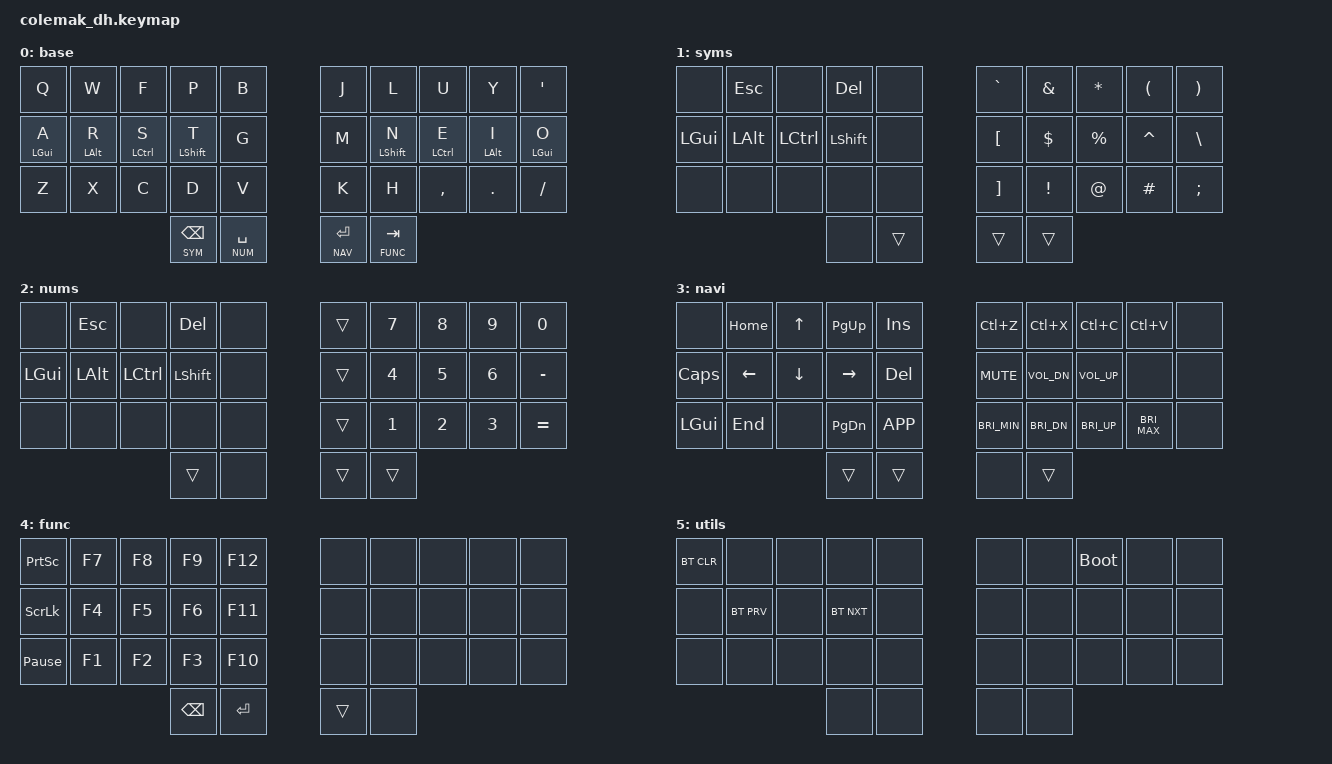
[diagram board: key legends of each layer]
#include <behaviors.dtsi>
#include <dt-bindings/zmk/keys.h>
#include <dt-bindings/zmk/bt.h>
//#include <dt-bindings/zmk/mouse.h> // This is included in mouse.dtsi

// Initially derived from https://github.com/guruc13/zmk_sweep_colemak_dh
// Which is derived from https://github.com/manna-harbour/miryoku

#define BASE 0
#define SYM  1
#define NUM  2
#define NAV  3
#define MAUS 4
#define FUNC 5
#define UTIL 6

#include "mouse.dtsi" // mouse.h is included here

// adjust mod-tap
&mt {
    flavor = "tap-preferred";
    tapping_term_ms = <300>;
};

/ {

//  combos {
//    compatible = "zmk,combos";
//    combo_esc {
//      timeout-ms = <50>;
//      key-positions = <1 2>;
//      bindings = <&kp ESC>;
//     };
//    combo_bspc {
//      timeout-ms = <50>;
//      key-positions = <7 8>;
//      bindings = <&kp BSPC>;
//    };
//  };

  conditional_layers {
    compatible = "zmk,conditional-layers";
    cond_layer_util {
        if-layers = <NAV FUNC>;
        then-layer = <UTIL>;
    };
    cond_layer_maus {
        if-layers = <SYM NUM>;
        then-layer = <MAUS>;
    };
  };


  keymap {
    compatible = "zmk,keymap";

// 0 BASE LAYER
// ┌──────┬──────┬──────┬──────┬──────┐     ┌──────┬──────┬───────┬────────┬───────┐
// │      │      │      │      │      │     │      │      │       │        │  DQT  │
// │   Q  │   W  │   F  │   P  │   B  │     │  J   │   L  │   U   │    Y   │  SQT  │
// ├──────┼──────┼──────┼──────┼──────┤     ├──────┼──────┼───────┼────────┼───────┤
// │ LGUI │ LALT │ LCTL │ LSHT │      │     │      │ LSHT │ LCTL  │  LALT  │ K_APP │
// │   A  │   R  │   S  │   T  │   G  │     │  M   │   N  │   E   │    I   │   O   │
// ├──────┼──────┼──────┼──────┼──────┤     ├──────┼──────┼───────┼────────┼───────┤
// │      │      │      │      │      │     │      │      │   LT  │   GT   │ QMARK │
// │   Z  │   X  │   C  │   D  │   V  │     │  K   │   H  │ COMMA │ PERIOD │ SLASH │
// └──────┴──────┴─┬────┴──────┴──────┤     ├──────┴──────┴─────┬─┴────────┴───────┘
//                 │ MAUS(4)[SYM,NUM] │     │ UTIL(6)[NAV,FUNC] │
//                 │ SYM(1)   NUM(2)  │     │ NAV(3)   FUNC(5)  │
//                 │  BSPC  │ SPACE   │     │ ENTER  │   TAB    │
//                 └────────┴─────────┘     └────────┴──────────┘
//

    base_layer { // layer 0
      label = "base";
      bindings = <
      &kp Q      &kp W      &kp F       &kp P       &kp B        &kp J &kp L       &kp U       &kp Y      &kp SQT
      &mt LGUI A &mt LALT R &mt LCTRL S &mt LSHFT T &kp G        &kp M &mt LSHFT N &mt LCTRL E &mt LALT I &mt LGUI O
      &kp Z      &kp X      &kp C       &kp D       &kp V        &kp K &kp H       &kp COMMA   &kp PERIOD &kp SLASH
                              &lt SYM BSPC  &lt NUM SPACE        &lt NAV ENTER  &lt FUNC TAB
        >;
    };

// 1 SYMS LAYER
// ┌──────┬──────┬──────┬──────┬──────┐    ┌───────┬───────┬───────┬───────┬───────┐
// │      │ ESC  │      │ DEL  │      │    │ TILDE │       │       │       │       │
// │      │      │      │      │      │    │ GRAVE │ AMPS  │ ASTRK │ LPAR  │ RPAR  │
// ├──────┼──────┼──────┼──────┼──────┤    ├───────┼───────┼───────┼───────┼───────┤
// │ LGUI │ LALT │ LCTL │ LSHT │      │    │ LBRC  │       │       │       │ PIPE  │
// │      │      │      │      │      │    │ LBKT  │ DLLR  │ PRCNT │ CARET │ BSLH  │
// ├──────┼──────┼──────┼──────┼──────┤    ├───────┼───────┼───────┼───────┼───────┤
// │      │      │      │      │      │    │ RBRC  │       │       │       │ COLON │
// │      │      │      │      │      │    │ RBKT  │ EXCL  │  AT   │ HASH  │ SEMI  │
// └──────┴──────┴─┬────┴──────┴──────┤    ├───────┼───────┼───────┴───────┴───────┘
//                 │ MAUS(4)[SYM,NUM] │    │               │
//                 │   ***     (NUM)  │    │       │       │
//                 │   ***  │  TRANS  │    │ TRANS │ TRANS │
//                 └────────┴─────────┘    └───────┴───────┘
//

    sym_layer { //layer 1
      label = "syms";
      bindings = <
      &none    &kp ESC  &none     &kp DEL   &none      &kp GRAVE &kp AMPS &kp ASTRK &kp LPAR  &kp RPAR
      &kp LGUI &kp LALT &kp LCTRL &kp LSHFT &none      &kp LBKT  &kp DLLR &kp PRCNT &kp CARET &kp BSLH
      &none    &none    &none     &none     &none      &kp RBKT  &kp EXCL &kp AT    &kp HASH  &kp SEMI
                                  &none     &trans     &trans    &trans
      >;
    };


// 2 NUMS LAYER
// ┌──────┬──────┬──────┬──────┬──────┐     ┌───────┬───────┬───────┬───────┬───────┐
// │      │ ESC  │      │ DEL  │      │     │       │ AMPS  │ ASTRK │ LPAR  │ RPAR  │
// │      │      │      │      │      │     │ TRANS │  N7   │   N8  │  N9   │   N0  │
// ├──────┼──────┼──────┼──────┼──────┤     ├───────┼───────┼───────┼───────┼───────┤
// │ LGUI │ LALT │ LCTL │ LSHT │      │     │       │ DLLR  │ PRCNT │ CARET │ UNDER │
// │      │      │      │      │      │     │ TRANS │  N4   │   N5  │   N6  │ MINUS │
// ├──────┼──────┼──────┼──────┼──────┤     ├───────┼───────┼───────┼───────┼───────┤
// │      │      │      │      │      │     │       │ EXCL  │   AT  │  HASH │ PLUS  │
// │      │      │      │      │      │     │ TRANS │  N1   │   N2  │   N3  │ EQUAL │
// └──────┴──────┴─┬────┴──────┴──────┤     ├───────┼───────┼───────┴───────┴───────┘
//                 │ MAUS(4)[SYM,NUM] │     │               │
//                 │ (SYM)      ****  │     │       │       │
//                 │ TRANS  │   ****  │     │ TRANS │ TRANS │
//                 └────────┴─────────┘     └───────┴───────┘
//

    num_layer { //layer 2
      label = "nums";
      bindings = <
      &none    &kp ESC  &none     &kp DEL   &none     &trans &kp N7  &kp N8  &kp N9  &kp N0
      &kp LGUI &kp LALT &kp LCTRL &kp LSHFT &none     &trans &kp N4  &kp N5  &kp N6  &kp MINUS
      &none    &none    &none     &none     &none     &trans &kp N1  &kp N2  &kp N3  &kp EQUAL
                                  &trans    &none     &trans &trans
      >;
    };


// 3 NAV LAYER
// ┌──────┬──────┬──────┬───────┬───────┐   ┌────────┬───────┬───────┬───────┬────┐
// │      │      │      │       │       │   │ UNDO   │  CUT  │ COPY  │ PASTE │    │
// │      │ HOME │  UP  │ PG_UP │  INS  │   │ LC(Z)  │ LC(X) │ LC(C) │ LC(V) │    │
// ├──────┼──────┼──────┼───────┼───────┤   ├────────┼───────┼───────┼───────┼────┤
// │      │      │      │       │       │   │        │ K_VOL │ K_VOL │       │    │
// │ CAPS │ LEFT │ DOWN │ RIGHT │  DEL  │   │ K_MUTE │  _DN  │  _UP  │       │    │
// ├──────┼──────┼──────┼───────┼───────┤   ├────────┼───────┼───────┼───────┼────┤
// │      │      │      │       │       │   │ C_BRI  │ C_BRI │ C_BRI │ C_BRI │    │
// │ LGUI │ END  │      │ PG_DN │ K_APP │   │  _MIN  │  _DN  │  _UP  │  _MAX │    │
// └──────┴──────┴──────┼───────┼───────┤   ├────────┴───────┴──┬────┴───────┴────┘
//                      │               │   │ UTIL(6)[NAV,FUNC] │
//                      │ BSPC  │ ENTER │   │   ****     (FUNC) │
//                      │ BSPC  │ ENTER │   │   ****  │  TRANS  │
//                      └───────┴───────┘   └─────────┴─────────┘
//

    nav_layer { //layer 3
      label = "navi";
      bindings = <
      &none    &kp HOME &kp UP   &kp PG_UP &kp INS     &kp LC(Z)     &kp LC(X)    &kp LC(C)    &kp LC(V)      &none
      &kp CAPS &kp LEFT &kp DOWN &kp RIGHT &kp DEL     &kp K_MUTE    &kp K_VOL_DN &kp K_VOL_UP &none          &none
      &kp LGUI &kp END  &none    &kp PG_DN &kp K_APP   &kp C_BRI_MIN &kp C_BRI_DN &kp C_BRI_UP &kp C_BRI_MAX  &none
                                 &trans    &trans      &none      &trans
      >;
    };

// 4 MAUS LAYER
// ┌──────┬──────┬──────┬──────┬───────┐  ┌────────┬────────┬────────┬────────┬─────────┐
// │      │      │      │      │       │  │        │  (up)  │  (up)  │ (down) │         │
// │      │      │      │      │       │  │        │ SCROLL │  MOVE  │ SCROLL │         │
// │      │      │      │      │       │  │        │  VERT  │  VERT  │  VERT  │         │
// ├──────┼──────┼──────┼──────┼───────┤  ├────────┼────────┼────────┼────────┼─────────┤
// │      │      │      │      │       │  │ (left) │ (left) │ (down) │ (left) │ (right) │
// │      │      │      │      │       │  │ SCROLL │  MOVE  │  MOVE  │  MOVE  │ SCROLL  │
// │ LGUI │ LCLK │ MCLK │ RCLK │ K_APP │  │  HOR   │  HOR   │  VERT  │   HOR  │   HOR   │
// ├──────┼───── ┼──────┼──────┼───────┤  ├────────┼────────┼────────┼────────┼─────────┤
// │      │      │      │      │       │  │        │        │        │        │         │
// │      │      │      │      │       │  │        │        │        │        │         │
// └──────┴──────┴──────┼──────┼───────┤  ├────────┼────────┼────────┴────────┴─────────┘                                        │
//                      │ **** │ ****  │  │        │        │
//                      │ **** │ ****  │  │  LCLK  │ RCLK   │
//                      └──────┴───────┘  └────────┴────────┘
//

// See mouse.dtsi for #defines

//    maus_layer { // layer 4
//      label = "maus";
//      bindings = <
////    &none     &none   &none   &none   &none        &none   &mwh SCROLL_VERT(15) &mmv MOVE_VERT(-2500) &mwh SCROLL_VERT(-15) &none
//      &none     &none   &none   &none   &none        &none   U_WH_U  U_MS_U  U_WH_D  &none
////    &none     &none   &none   &none   &none        &mwh SCROLL_HOR(-15)  &mmv MOVE_HOR(-2500) &mmv MOVE_VERT(2500) &mmv MOVE_HOR(2500)   &mwh SCROLL_HOR(15)
//      &none     &none   &none   &none   &none        U_WH_L  U_MS_L  U_MS_D  U_MS_R UWH_R
//      &kp LGUI  U_BN_L  U_BN_M  U_BN_R  &kp K_APP    &none    &none      &none     &none     &none
//                                &trans  &trans       U_BN_L U_BN_R
//      >;
//    };


// 5 FUNC LAYER
// ┌───────┬────┬────┬────┬─────┐  ┌────┬────┬────┬────┬────┐
// │       │    │    │    │     │  │    │    │    │    │    │
// │ PSCRN │ F7 │ F8 │ F9 │ F10 │  │    │    │    │    │    │
// ├───────┼────┼────┼────┼─────┤  ├────┼────┼────┼────┼────┤
// │       │    │    │    │     │  │    │    │    │    │    │
// │ SLCK  │ F4 │ F5 │ F6 │ F11 │  │    │    │    │    │    │
// ├───────┼────┼────┼────┼─────┤  ├────┼────┼────┼────┼────┤
// │ PAUSE │    │    │    │     │  │    │    │    │    │    │
// │ BREAK │ F1 │ F2 │ F3 │ F12 │  │    │    │    │    │    │
// └───────┴────┴┬───┴──┬─┴─────┤  ├────┴────┴────┴────┼────┘
//               │              │  │ UTIL(6)[NAV,FUNC] │
//               │              │  │  NAV(3)    ****   │
//               │ BSPC │ ENTER │  │  TRANS  │  ****   │
//               └──────┴───────┘  └─────────┴─────────┘
//

    func_layer { // layer 5
      label = "func";
      bindings = <
      &kp PSCRN        &kp F7  &kp F8  &kp F9   &kp F12      &none     &none      &none     &none    &none
      &kp SLCK         &kp F4  &kp F5  &kp F6   &kp F11      &none     &none      &none     &none    &none
      &kp PAUSE_BREAK  &kp F1  &kp F2  &kp F3   &kp F10      &none     &none      &none     &none    &none
                                     &kp BSPC &kp ENTER      &trans   &none
      >;
    };


// 6 UTIL LAYER
// ┌──────┬──────┬────┬──────┬────┐   ┌────┬────┬────────┬─────┬────┐
// │  BT  │      │    │      │    │   │    │    │  boot  │     │    │
// │ _CLR │      │    │      │    │   │    │    │ loader │     │    │
// ├──────┼──────┼────┼──────┼────┤   ├────┼────┼────────┼─────┼────┤
// │      │  BT  │    │  BT  │    │   │    │    │        │     │    │
// │      │ _PRV │    │ _NXT │    │   │    │    │        │     │    │
// ├──────┼──────┼────┼──────┼────┤   ├────┼────┼────────┼─────┼────┤
// │      │      │    │      │    │   │    │    │        │     │    │
// │      │      │    │      │    │   │    │    │        │     │    │
// └──────┴──────┴────┼──────┼────┤   ├────┴────┴────────┴┬────┴────┘
//                    │           │   │ UTIL(6)[NAV,FUNC] │
//                    │      │    │   │  ****      ****   │
//                    │      │    │   │  ****   │   ****  │
//                    └──────┴────┘   └─────────┴─────────┘
//

    util_layer { // layer 6
      label = "utils";
      bindings = <
      &bt BT_CLR &none      &none   &none      &none        &none   &none   &bootloader &none   &none
      &none      &bt BT_PRV &none   &bt BT_NXT &none        &none   &none   &none       &none   &none
      &none      &none      &none   &none      &none        &none   &none   &none       &none   &none
                                    &none      &none        &none   &none
      >;
    };
  };
};
